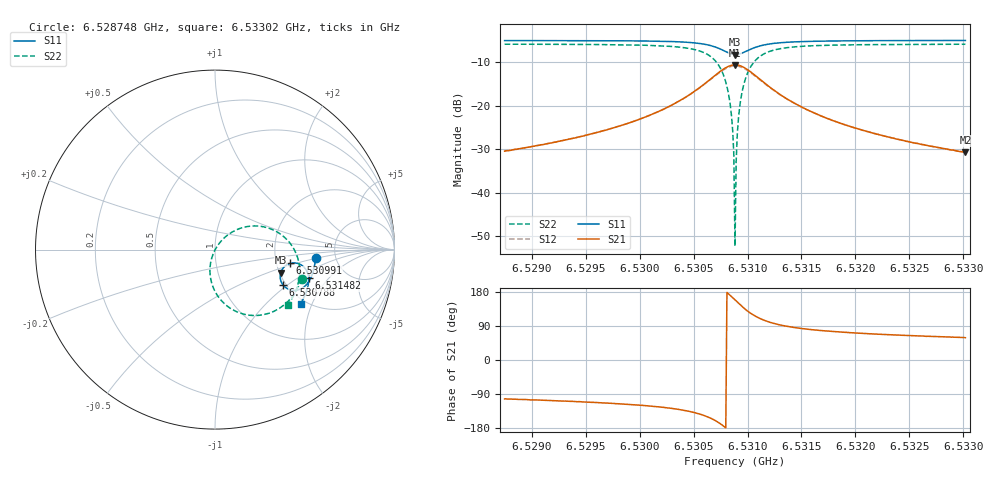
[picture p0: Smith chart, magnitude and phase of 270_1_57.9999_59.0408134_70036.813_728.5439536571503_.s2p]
#  HZ  S  RI  R  50.00
! Rohde & Schwarz Vector Network Analyzer
! Rohde-Schwarz,ZNB20-2Port,1311601062101988,3.16
! Created: UTC 3/21/2024, 1:02:20 AM
! freq[Hz]  re:S11  im:S11  re:S21  im:S21  re:S12  im:S12  re:S22  im:S22
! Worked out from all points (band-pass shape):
!   401 points, 6.528748 GHz to 6.53302 GHz, reference 50 ohm
!   highest |S21| = -10.59 dB at 6.530884 GHz (marker M1); lowest = -30.7 dB at 6.53302 GHz (marker M2)
!   |S21| within 3 dB of the highest: 6.530671 GHz to 6.531098 GHz (427.8 kHz wide, 0.00655 % of centre)
!   lowest |S11| = -8.2 dB at 6.530884 GHz (marker M3), VSWR 2.27, Z = 101 - j30.8 ohm
!   |S11| at or under -10 dB: nowhere
!   |S22| runs from -52.3 to -5.8 dB; largest |S21 - S12| = 0.011
!   S11 on the Smith chart (normalised r, x): 6.528748 GHz: 3.50, -0.47; 6.530788 GHz: 1.93, -0.92; 6.530991 GHz: 2.38, -0.45; 6.531482 GHz: 2.76, -1.26; 6.53302 GHz: 1.87, -1.65
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6.5287482e9  0.5601 -0.0462  -0.00663 -0.0293  -0.00709 -0.0292  0.4841 -0.1623
6.5294637e9  0.551 -0.1054  -0.0156 -0.0417  -0.0165 -0.0415  0.4539 -0.2267
6.5301792e9  0.5241 -0.1757  -0.048 -0.0717  -0.0499 -0.0704  0.3749 -0.3163
6.5306063e9  0.4559 -0.2262  -0.1519 -0.0972  -0.1541 -0.091  0.1753 -0.3628
6.5307131e9  0.4123 -0.2219  -0.2192 -0.0719  -0.2185 -0.0629  0.062 -0.3097
6.5307879e9  0.3783 -0.196  -0.2689 -0.0156  -0.2634 -0.0061  -0.0119 -0.2065
6.5308199e9  0.3677 -0.1767  -0.2819 0.0216  -0.2743 0.03  -0.0269 -0.1425
6.5308412e9  0.3638 -0.1615  -0.2852 0.0497  -0.2762 0.0569  -0.0273 -0.0959
6.5308519e9  0.3631 -0.1535  -0.2849 0.0644  -0.2753 0.0708  -0.0242 -0.0719
6.5308626e9  0.3631 -0.1453  -0.2831 0.079  -0.2732 0.0845  -0.0184 -0.0482
6.5308733e9  0.3641 -0.1372  -0.2798 0.0937  -0.2695 0.0983  -0.0104 -0.0249
6.530884e9  0.3659 -0.1291  -0.275 0.1079  -0.2647 0.1117  -0.000113 -0.00242
6.5309053e9  0.3723 -0.1138  -0.2614 0.1348  -0.2511 0.1366  0.0269 0.0389
6.530916e9  0.3764 -0.1069  -0.2527 0.147  -0.2428 0.148  0.0432 0.0572
6.5309374e9  0.3869 -0.0947  -0.2327 0.1679  -0.2234 0.1674  0.0796 0.0878
6.5309907e9  0.4187 -0.0768  -0.1746 0.199  -0.168 0.1964  0.1804 0.1286
6.5310548e9  0.4549 -0.0756  -0.1109 0.203  -0.1071 0.2001  0.2875 0.1228
6.5311509e9  0.4911 -0.0933  -0.0487 0.1785  -0.0466 0.1768  0.3885 0.0673
6.531482e9  0.5222 -0.1602  0.0107 0.0988  0.0119 0.0984  0.4709 -0.0984
6.5315994e9  0.5221 -0.1773  0.0148 0.0831  0.0158 0.0828  0.4716 -0.133
6.5323149e9  0.5031 -0.2493  0.0171 0.0398  0.0178 0.0396  0.4428 -0.2471
6.5330197e9  0.4766 -0.3017  0.015 0.0248  0.0155 0.0246  0.4075 -0.3071
